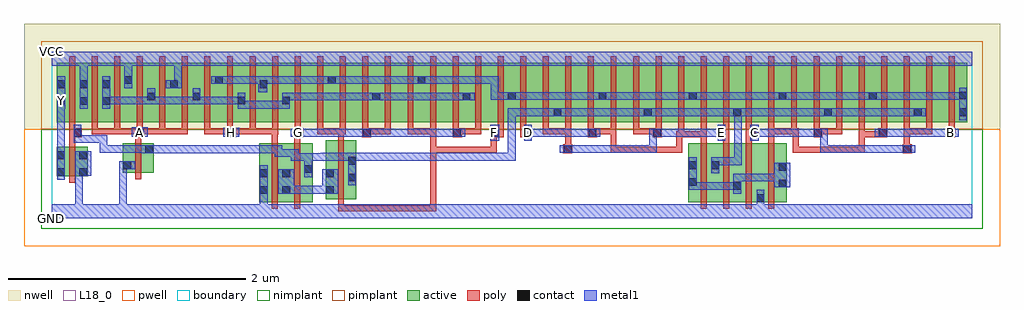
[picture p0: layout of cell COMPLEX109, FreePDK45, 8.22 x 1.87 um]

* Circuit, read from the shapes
.subckt COMPLEX109 A B C D E F G GND H VCC Y
M1 GND n1 Y VSUBS nfet w=0.25u l=0.05u
M2 n1 A GND VSUBS nfet w=0.25u l=0.05u
M3 n2 H GND VSUBS nfet w=0.5u l=0.05u
M4 n1 G n2 VSUBS nfet w=0.5u l=0.05u
M5 n1 F n2 VSUBS nfet w=0.5u l=0.05u
M6 n1 D n3 VSUBS nfet w=0.5u l=0.05u
M7 n3 E n1 VSUBS nfet w=0.5u l=0.05u
M8 GND C n3 VSUBS nfet w=0.5u l=0.05u
M9 n3 B GND VSUBS nfet w=0.5u l=0.05u
M10 VCC n1 Y n4 pfet w=0.5u l=0.05u
M11 n5 A VCC n4 pfet w=0.5u l=0.05u m=5
M12 n6 H n5 n4 pfet w=0.5u l=0.05u m=4
M13 n7 G n5 n4 pfet w=0.5u l=0.05u
M14 n6 F n7 n4 pfet w=0.5u l=0.05u
M15 n8 F n6 n4 pfet w=0.5u l=0.05u
M16 n5 G n8 n4 pfet w=0.5u l=0.05u
M17 n9 G n5 n4 pfet w=0.5u l=0.05u
M18 n6 F n9 n4 pfet w=0.5u l=0.05u
M19 n10 F n6 n4 pfet w=0.5u l=0.05u
M20 n5 G n10 n4 pfet w=0.5u l=0.05u
M21 n11 G n5 n4 pfet w=0.5u l=0.05u
M22 n6 F n11 n4 pfet w=0.5u l=0.05u
M23 n12 D n6 n4 pfet w=0.5u l=0.05u
M24 n1 E n12 n4 pfet w=0.5u l=0.05u
M25 n13 E n1 n4 pfet w=0.5u l=0.05u
M26 n6 D n13 n4 pfet w=0.5u l=0.05u
M27 n14 D n6 n4 pfet w=0.5u l=0.05u
M28 n1 E n14 n4 pfet w=0.5u l=0.05u
M29 n15 E n1 n4 pfet w=0.5u l=0.05u
M30 n6 D n15 n4 pfet w=0.5u l=0.05u
M31 n16 D n6 n4 pfet w=0.5u l=0.05u
M32 n1 E n16 n4 pfet w=0.5u l=0.05u
M33 n17 C n1 n4 pfet w=0.5u l=0.05u
M34 n6 B n17 n4 pfet w=0.5u l=0.05u
M35 n18 B n6 n4 pfet w=0.5u l=0.05u
M36 n1 C n18 n4 pfet w=0.5u l=0.05u
M37 n19 C n1 n4 pfet w=0.5u l=0.05u
M38 n6 B n19 n4 pfet w=0.5u l=0.05u
M39 n20 B n6 n4 pfet w=0.5u l=0.05u
M40 n1 C n20 n4 pfet w=0.5u l=0.05u
M41 n21 C n1 n4 pfet w=0.5u l=0.05u
M42 n6 B n21 n4 pfet w=0.5u l=0.05u
.ends

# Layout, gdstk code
import gdstk
lib = gdstk.Library(unit=1e-6, precision=1e-09)
def R(c, l, rs):  # rectangles x0, y0, x1, y1
    for r in rs: c.add(gdstk.rectangle(r[:2], r[2:], *l))
def A(c, l, x, y, w, h, nx, ny, dx, dy):  # array of equal rectangles
    R(c, l, [(x+i*dx, y+j*dy, x+i*dx+w, y+j*dy+h) for i in range(nx) for j in range(ny)])
active = (1, 0)
pwell = (2, 0)
nwell = (3, 0)
nimplant = (4, 0)
pimplant = (5, 0)
poly = (9, 0)
contact = (10, 0)
metal1 = (11, 0)
L18_0 = (18, 0)
boundary = (235, 0)

complex109 = lib.new_cell('COMPLEX109')
A(complex109, active, 0.04, 0.807, 0.075, 0.393, 4, 1, 0.38, 0)
A(complex109, active, 0.8, 0.807, 0.265, 0.5, 4, 1, 0.19, 0)
A(complex109, active, 1.935, 0.807, 0.075, 0.263, 3, 1, 0.76, 0)
A(complex109, active, 2.545, 0.807, 0.225, 0.5, 4, 1, 0.38, 0)
A(complex109, active, 2.695, 0.807, 0.23, 0.5, 4, 1, 0.38, 0)
A(complex109, active, 4.065, 0.807, 0.23, 0.5, 4, 1, 0.38, 0)
A(complex109, active, 4.22, 0.807, 0.225, 0.5, 4, 1, 0.38, 0)
A(complex109, active, 6.115, 0.807, 0.075, 0.393, 3, 1, 0.76, 0)
A(complex109, active, 6.725, 0.807, 0.225, 0.5, 3, 1, 0.38, 0)
R(complex109, active, [(1.747,0.132,2.012,0.632), (1.747,0.132,1.822,0.632), (1.937,0.132,2.197,0.632), (5.36,0.132,5.625,0.632), (5.55,0.132,5.81,0.632), (5.735,0.132,6.005,0.632), (5.93,0.132,6.19,0.632), (5.93,0.132,6.005,0.592), (2.305,0.157,2.565,0.657), (1.937,0.195,2.012,0.592), (2.122,0.195,2.197,0.632), (2.305,0.195,2.38,0.657), (2.49,0.195,2.565,0.657), (5.36,0.195,5.435,0.632), (5.55,0.195,5.625,0.592), (5.735,0.195,5.81,0.592), (6.115,0.195,6.19,0.632), (0.04,0.352,0.115,0.602), (0.04,0.352,0.3,0.602), (0.225,0.352,0.3,0.602), (0.597,0.382,0.672,0.632), (0.597,0.382,0.857,0.632), (0.782,0.382,0.857,0.632), (0.04,0.807,0.305,1.307), (0.23,0.807,0.495,1.307), (0.23,0.807,0.305,1.307), (0.42,0.807,0.68,1.307), (0.605,0.807,0.875,1.307), (0.605,0.807,0.68,1.307), (0.99,0.807,1.065,1.307), (1.37,0.807,1.445,1.2), (1.56,0.807,1.82,1.307), (1.56,0.807,1.635,1.07), (1.745,0.807,2.01,1.307), (1.745,0.807,1.82,1.2), (1.935,0.807,2.165,1.307), (2.165,0.807,2.395,1.307), (2.32,0.807,2.395,1.2), (2.32,0.807,2.545,1.307), (3.075,0.807,3.15,1.2), (3.835,0.807,3.91,1.2), (4.22,0.807,4.295,1.07), (4.6,0.807,4.675,1.2), (4.98,0.807,5.055,1.07), (5.36,0.807,5.435,1.2), (5.585,0.807,5.81,1.307), (5.735,0.807,5.965,1.307), (5.735,0.807,5.81,1.07), (5.965,0.807,6.19,1.307), (6.115,0.807,6.345,1.307), (6.345,0.807,6.575,1.307), (6.5,0.807,6.725,1.307), (6.5,0.807,6.575,1.07), (6.875,0.807,7.105,1.307), (7.255,0.807,7.485,1.307), (7.255,0.807,7.33,1.07)])
R(complex109, pwell, [(-0.235,-0.235,7.985,0.75)])
R(complex109, nwell, [(-0.235,0.75,7.985,1.635)])
R(complex109, nimplant, [(-0.09,-0.09,7.84,0.75)])
R(complex109, pimplant, [(-0.09,0.75,7.84,1.49)])
A(complex109, poly, 5.465, 0.077, 0.05, 0.61, 4, 1, 0.19, 0)
A(complex109, poly, 5.465, 0.637, 0.05, 0.095, 3, 1, 0.19, 0)
A(complex109, poly, 0.145, 0.707, 0.05, 0.095, 27, 1, 0.19, 0)
A(complex109, poly, 2.805, 0.707, 0.05, 0.05, 3, 1, 0.19, 0)
A(complex109, poly, 5.655, 0.707, 0.05, 0.095, 6, 1, 0.19, 0)
A(complex109, poly, 6.985, 0.707, 0.05, 0.095, 4, 1, 0.19, 0)
A(complex109, poly, 0.145, 0.752, 0.05, 0.61, 40, 1, 0.19, 0)
R(complex109, poly, [(2.41,0.057,2.46,0.152), (2.41,0.057,2.46,0.107), (2.41,0.057,2.722,0.107), (2.672,0.057,2.722,0.107), (2.672,0.057,2.722,0.107), (2.672,0.057,2.722,0.107), (2.672,0.057,2.722,0.107), (2.672,0.057,2.722,0.107), (2.672,0.057,2.855,0.107), (2.805,0.057,2.855,0.107), (2.805,0.057,2.855,0.107), (2.805,0.057,2.855,0.107), (2.805,0.057,2.987,0.107), (2.937,0.057,2.987,0.107), (2.937,0.057,2.987,0.107), (2.937,0.057,2.987,0.107), (2.937,0.057,3.235,0.107), (3.185,0.057,3.235,0.107), (3.185,0.057,3.235,0.107), (3.185,0.057,3.235,0.107), (3.185,0.057,3.235,0.6), (1.852,0.077,1.902,0.687), (2.042,0.077,2.092,0.687), (2.41,0.102,2.46,0.712), (0.145,0.297,0.195,0.657), (0.702,0.327,0.752,0.687), (4.307,0.545,4.382,0.62), (7.167,0.545,7.242,0.62), (3.185,0.55,3.235,0.6), (3.185,0.55,3.235,0.6), (3.185,0.55,3.235,0.6), (3.185,0.55,3.235,0.757), (3.185,0.55,3.472,0.6), (3.422,0.55,3.472,0.6), (3.422,0.55,3.482,0.6), (3.432,0.55,3.482,0.6), (3.432,0.55,3.605,0.6), (3.555,0.55,3.605,0.6), (3.555,0.55,3.615,0.6), (3.565,0.55,3.615,0.6), (3.565,0.55,3.747,0.6), (3.697,0.55,3.747,0.6), (3.697,0.55,3.747,0.6), (3.697,0.55,3.747,0.6), (3.697,0.55,3.747,0.732), (4.705,0.55,4.755,0.6), (4.705,0.55,4.755,0.757), (4.705,0.55,4.977,0.6), (4.927,0.55,4.977,0.6), (4.927,0.55,4.977,0.6), (4.927,0.55,4.977,0.6), (4.927,0.55,5.177,0.6), (5.127,0.55,5.177,0.6), (5.127,0.55,5.177,0.6), (5.127,0.55,5.177,0.6), (5.127,0.55,5.31,0.6), (5.26,0.55,5.31,0.6), (5.26,0.55,5.31,0.6), (5.26,0.55,5.31,0.6), (5.26,0.55,5.31,0.732), (6.24,0.55,6.29,0.6), (6.24,0.55,6.522,0.6), (6.24,0.55,6.29,0.757), (6.472,0.55,6.522,0.6), (6.472,0.55,6.522,0.6), (6.472,0.55,6.522,0.6), (6.472,0.55,6.712,0.6), (6.662,0.55,6.712,0.6), (6.662,0.55,6.712,0.6), (6.662,0.55,6.712,0.6), (6.662,0.55,6.845,0.6), (6.795,0.55,6.845,0.6), (6.795,0.55,6.845,0.6), (6.795,0.55,6.845,0.6), (6.795,0.55,6.845,0.6), (6.795,0.55,6.845,0.6), (6.795,0.55,6.845,0.732), (4.325,0.57,4.375,0.62), (4.325,0.57,4.375,0.62), (4.325,0.57,4.375,0.757), (7.175,0.57,7.225,0.757), (0.145,0.607,0.195,0.732), (0.702,0.637,0.752,0.732), (1.852,0.637,1.902,0.757), (2.042,0.637,2.092,0.732), (6.035,0.637,6.085,0.757), (2.41,0.662,2.46,0.757), (0.145,0.682,0.252,0.757), (0.702,0.682,0.777,0.757), (1.472,0.682,1.547,0.757), (2.042,0.682,2.117,0.757), (2.615,0.682,2.69,0.757), (3.375,0.682,3.45,0.757), (3.697,0.682,3.747,0.732), (3.697,0.682,3.747,0.732), (3.697,0.682,3.805,0.757), (3.945,0.682,4.047,0.757), (4.515,0.682,4.59,0.757), (5.06,0.682,5.135,0.757), (5.26,0.682,5.31,0.732), (5.26,0.682,5.31,0.732), (5.26,0.682,5.325,0.732), (5.275,0.682,5.515,0.732), (5.275,0.682,5.325,0.802), (5.465,0.682,5.515,0.732), (5.465,0.682,5.515,0.732), (5.465,0.682,5.515,0.732), (5.465,0.682,5.515,0.802), (5.602,0.682,5.705,0.757), (5.845,0.682,5.952,0.757), (6.415,0.682,6.49,0.757), (6.795,0.682,6.845,0.732), (6.795,0.682,7.01,0.732), (6.795,0.682,6.845,0.802), (6.96,0.682,7.035,0.757), (6.96,0.682,7.01,0.732), (6.96,0.682,7.01,0.732), (7.532,0.682,7.607,0.757), (0.335,0.707,0.385,0.757), (0.335,0.707,0.575,0.757), (0.525,0.707,0.575,0.757), (0.525,0.707,0.575,0.757), (0.525,0.707,0.575,0.757), (0.525,0.707,0.752,0.757), (0.702,0.707,0.752,0.757), (0.702,0.707,0.752,0.757), (0.727,0.707,0.955,0.757), (0.905,0.707,0.955,0.757), (0.905,0.707,0.955,0.757), (0.905,0.707,0.955,0.757), (0.905,0.707,1.145,0.757), (1.095,0.707,1.145,0.757), (1.095,0.707,1.145,0.757), (1.095,0.707,1.145,0.757), (1.285,0.707,1.335,0.757), (1.285,0.707,1.522,0.757), (1.472,0.707,1.522,0.757), (1.472,0.707,1.522,0.757), (1.497,0.707,1.715,0.757), (1.665,0.707,1.715,0.757), (1.665,0.707,1.715,0.757), (1.665,0.707,1.715,0.757), (1.665,0.707,1.902,0.757), (1.852,0.707,1.902,0.757), (1.852,0.707,1.902,0.757), (1.852,0.707,1.905,0.757), (2.235,0.707,2.285,0.757), (2.235,0.707,2.285,0.757), (2.235,0.707,2.285,0.757), (2.235,0.707,2.46,0.757), (2.41,0.707,2.475,0.757), (2.64,0.707,2.855,0.757), (2.805,0.707,2.855,0.757), (2.805,0.707,2.855,0.757), (2.995,0.707,3.235,0.757), (3.185,0.707,3.235,0.757), (3.185,0.707,3.235,0.757), (3.185,0.707,3.235,0.757), (3.185,0.707,3.235,0.757), (3.4,0.707,3.615,0.757), (3.565,0.707,3.615,0.757), (3.565,0.707,3.615,0.757), (3.565,0.707,3.615,0.757), (4.135,0.707,4.185,0.757), (4.135,0.707,4.375,0.757), (4.325,0.707,4.375,0.757), (4.325,0.707,4.375,0.757), (4.325,0.707,4.375,0.757), (4.54,0.707,4.755,0.757), (4.705,0.707,4.755,0.757), (4.705,0.707,4.755,0.757), (4.705,0.707,4.755,0.757), (4.705,0.707,4.755,0.757), (4.705,0.707,4.755,0.757), (4.895,0.707,4.945,0.757), (4.895,0.707,5.11,0.757), (5.06,0.707,5.11,0.757), (5.06,0.707,5.11,0.757), (6.035,0.707,6.085,0.757), (6.035,0.707,6.275,0.757), (6.225,0.707,6.275,0.757), (6.225,0.707,6.275,0.757), (6.225,0.707,6.275,0.757), (6.225,0.707,6.275,0.757), (6.225,0.707,6.29,0.757), (6.44,0.707,6.655,0.757), (6.605,0.707,6.655,0.757), (6.605,0.707,6.655,0.757), (6.605,0.707,6.655,0.757), (7.175,0.707,7.225,0.757), (7.175,0.707,7.225,0.757), (7.175,0.707,7.225,0.757), (7.175,0.707,7.415,0.757), (7.365,0.707,7.415,0.757), (7.365,0.707,7.415,0.757), (7.365,0.707,7.415,0.757)])
A(complex109, contact, 0.045, 0.955, 0.065, 0.065, 3, 2, 0.19, 0.14)
R(complex109, contact, [(5.935,0.137,6,0.202), (1.752,0.205,1.817,0.27), (1.942,0.205,2.007,0.27), (2.31,0.205,2.375,0.27), (5.74,0.24,5.805,0.305), (6.12,0.26,6.185,0.325), (5.365,0.272,5.43,0.337), (2.495,0.31,2.56,0.375), (1.752,0.345,1.817,0.41), (1.942,0.345,2.007,0.41), (2.31,0.345,2.375,0.41), (0.045,0.357,0.11,0.422), (0.23,0.357,0.295,0.422), (2.127,0.38,2.192,0.445), (6.12,0.4,6.185,0.465), (0.602,0.412,0.667,0.477), (5.365,0.412,5.43,0.477), (5.555,0.412,5.62,0.477), (2.495,0.45,2.56,0.515), (0.045,0.497,0.11,0.562), (0.23,0.497,0.295,0.562), (0.787,0.547,0.852,0.612), (4.312,0.55,4.377,0.615), (7.172,0.55,7.237,0.615), (0.182,0.687,0.247,0.752), (0.707,0.687,0.772,0.752), (1.477,0.687,1.542,0.752), (2.047,0.687,2.112,0.752), (2.62,0.687,2.685,0.752), (3.38,0.687,3.445,0.752), (3.702,0.687,3.767,0.752), (3.977,0.687,4.042,0.752), (4.52,0.687,4.585,0.752), (5.065,0.687,5.13,0.752), (5.607,0.687,5.672,0.752), (5.882,0.687,5.947,0.752), (6.42,0.687,6.485,0.752), (6.965,0.687,7.03,0.752), (7.537,0.687,7.602,0.752), (4.225,0.86,4.29,0.925), (4.985,0.86,5.05,0.925), (5.74,0.86,5.805,0.925), (6.505,0.86,6.57,0.925), (7.26,0.86,7.325,0.925), (7.64,0.86,7.705,0.925), (1.565,0.957,1.63,1.022), (1.94,0.957,2.005,1.022), (0.805,0.992,0.87,1.057), (1.185,0.992,1.25,1.057), (2.7,0.992,2.765,1.057), (3.46,0.992,3.525,1.057), (3.84,0.997,3.905,1.062), (4.605,0.997,4.67,1.062), (5.365,0.997,5.43,1.062), (6.12,0.997,6.185,1.062), (6.88,0.997,6.945,1.062), (7.64,1,7.705,1.065), (0.995,1.095,1.06,1.16), (1.75,1.095,1.815,1.16), (0.61,1.13,0.675,1.195), (1.375,1.13,1.44,1.195), (2.325,1.13,2.39,1.195), (3.08,1.13,3.145,1.195)])
A(complex109, metal1, 1.185, 0.957, 0.065, 0.065, 3, 1, 0.19, 0)
R(complex109, metal1, [(0,0,7.75,0.115), (0.195,0.05,0.26,0.115), (0.195,0.05,0.26,0.115), (0.195,0.05,0.26,0.115), (0.195,0.05,0.26,0.115), (0.195,0.05,0.26,0.115), (0.195,0.05,0.26,0.115), (0.195,0.05,0.26,0.422), (0.567,0.05,0.632,0.477), (1.752,0.05,1.817,0.115), (1.752,0.05,1.817,0.115), (1.752,0.05,1.817,0.235), (5.935,0.05,6,0.115), (5.935,0.05,6,0.115), (5.935,0.05,6,0.167), (5.935,0.102,6,0.237), (1.752,0.17,1.817,0.445), (1.907,0.205,2.042,0.41), (2.275,0.205,2.41,0.41), (5.74,0.205,5.805,0.375), (1.977,0.207,2.077,0.272), (2.012,0.207,2.077,0.272), (2.012,0.207,2.18,0.272), (2.115,0.207,2.18,0.272), (2.115,0.207,2.34,0.272), (2.275,0.207,2.342,0.272), (2.277,0.207,2.342,0.272), (5.365,0.237,5.43,0.512), (5.365,0.237,5.495,0.302), (5.43,0.237,5.495,0.302), (5.43,0.237,5.632,0.302), (5.567,0.237,5.632,0.302), (5.567,0.237,5.632,0.302), (5.567,0.237,5.632,0.302), (5.567,0.237,5.805,0.302), (6.085,0.26,6.22,0.465), (2.495,0.275,2.56,0.55), (5.74,0.31,6.012,0.375), (5.947,0.31,6.012,0.375), (5.947,0.31,6.012,0.375), (5.947,0.31,6.012,0.375), (5.947,0.31,6.15,0.375), (6.085,0.31,6.15,0.375), (6.085,0.31,6.15,0.375), (0.045,0.322,0.11,0.597), (2.127,0.345,2.192,0.547), (0.195,0.357,0.33,0.562), (5.555,0.377,5.62,0.512), (0.567,0.412,0.632,0.477), (0.567,0.412,0.632,0.477), (0.567,0.412,0.632,0.477), (0.567,0.412,0.632,0.477), (0.567,0.412,0.632,0.477), (0.567,0.412,0.632,0.477), (0.567,0.412,0.702,0.477), (5.555,0.447,5.81,0.512), (5.745,0.447,5.81,0.512), (5.745,0.447,5.81,0.512), (5.745,0.447,5.81,0.512), (5.745,0.447,5.81,0.925), (2.012,0.482,2.192,0.547), (2.012,0.482,2.077,0.582), (2.127,0.482,2.33,0.547), (2.265,0.482,2.33,0.55), (2.265,0.485,2.33,0.55), (2.265,0.485,2.33,0.55), (2.265,0.485,2.512,0.55), (2.447,0.485,2.512,0.55), (2.447,0.485,2.56,0.55), (2.495,0.485,2.8,0.55), (2.735,0.485,2.8,0.55), (2.735,0.485,2.8,0.55), (2.735,0.485,2.8,0.55), (2.735,0.485,2.937,0.55), (2.872,0.485,2.937,0.55), (2.872,0.485,2.937,0.55), (2.872,0.485,2.937,0.55), (2.872,0.485,3.11,0.55), (3.045,0.485,3.11,0.55), (3.045,0.485,3.11,0.55), (3.045,0.485,3.11,0.55), (3.045,0.485,3.247,0.55), (3.182,0.485,3.247,0.55), (3.182,0.485,3.352,0.55), (3.287,0.485,3.352,0.55), (3.287,0.485,3.385,0.55), (3.32,0.485,3.385,0.55), (3.32,0.485,3.515,0.55), (3.45,0.485,3.515,0.55), (3.45,0.485,3.617,0.55), (3.552,0.485,3.617,0.55), (3.552,0.485,3.732,0.55), (3.667,0.485,3.732,0.55), (3.667,0.485,3.905,0.55), (3.84,0.485,3.905,0.55), (3.84,0.485,3.905,0.55), (3.84,0.485,3.905,0.55), (3.84,0.485,3.905,0.55), (3.84,0.485,3.905,0.55), (3.84,0.485,3.905,0.925), (1.875,0.517,1.987,0.582), (1.875,0.517,1.94,0.612), (1.922,0.517,1.987,0.582), (1.922,0.517,2.077,0.582), (0.045,0.532,0.11,0.597), (0.045,0.532,0.11,0.597), (0.045,0.532,0.11,0.985), (0.752,0.547,0.887,0.615), (0.822,0.547,0.945,0.612), (0.88,0.547,0.945,0.612), (0.88,0.547,1.112,0.612), (1.047,0.547,1.112,0.612), (1.047,0.547,1.112,0.612), (1.047,0.547,1.112,0.612), (1.047,0.547,1.267,0.612), (1.202,0.547,1.267,0.612), (1.202,0.547,1.267,0.612), (1.202,0.547,1.267,0.612), (1.202,0.547,1.422,0.612), (1.357,0.547,1.422,0.612), (1.357,0.547,1.6,0.612), (1.535,0.547,1.612,0.612), (1.547,0.547,1.612,0.612), (1.547,0.547,1.612,0.612), (1.547,0.547,1.767,0.612), (1.702,0.547,1.767,0.612), (1.702,0.547,1.767,0.612), (1.702,0.547,1.767,0.612), (1.702,0.547,1.94,0.612), (0.402,0.55,0.6,0.615), (0.402,0.55,0.467,0.7), (0.535,0.55,0.6,0.615), (0.535,0.55,0.68,0.615), (0.615,0.55,0.68,0.615), (0.615,0.55,0.737,0.615), (0.672,0.55,0.737,0.615), (0.672,0.55,0.817,0.615), (4.277,0.55,4.412,0.615), (4.347,0.55,4.497,0.615), (4.432,0.55,4.497,0.615), (4.432,0.55,4.497,0.615), (4.432,0.55,4.497,0.615), (4.432,0.55,4.672,0.615), (4.607,0.55,4.672,0.615), (4.607,0.55,4.672,0.615), (4.607,0.55,4.672,0.615), (4.607,0.55,4.81,0.615), (4.745,0.55,4.81,0.615), (4.745,0.55,4.842,0.615), (4.777,0.55,4.842,0.615), (4.777,0.55,4.947,0.615), (4.882,0.55,4.947,0.615), (4.882,0.55,5.095,0.615), (5.03,0.55,5.095,0.615), (5.03,0.55,5.095,0.752), (6.47,0.55,6.535,0.615), (6.47,0.55,6.72,0.615), (6.47,0.55,6.535,0.752), (6.655,0.55,6.72,0.615), (6.655,0.55,6.742,0.615), (6.677,0.55,6.742,0.615), (6.677,0.55,6.742,0.615), (6.677,0.55,6.742,0.615), (6.677,0.55,6.857,0.615), (6.792,0.55,6.857,0.615), (6.792,0.55,6.88,0.615), (6.815,0.55,6.88,0.615), (6.815,0.55,7.065,0.615), (7,0.55,7.065,0.615), (7,0.55,7.152,0.615), (7.087,0.55,7.152,0.615), (7.087,0.55,7.202,0.615), (7.137,0.55,7.272,0.615), (0.185,0.635,0.25,0.7), (0.185,0.635,0.462,0.7), (0.185,0.635,0.25,0.717), (0.397,0.635,0.462,0.7), (0.397,0.635,0.467,0.7), (3.69,0.65,3.767,0.787), (0.182,0.652,0.247,0.787), (0.182,0.652,0.25,0.717), (0.185,0.652,0.25,0.717), (3.977,0.652,4.042,0.787), (5.607,0.652,5.672,0.787), (5.882,0.652,5.952,0.787), (1.442,0.685,1.577,0.762), (0.672,0.687,0.807,0.765), (2.012,0.687,2.147,0.752), (2.082,0.687,2.18,0.752), (2.115,0.687,2.18,0.752), (2.115,0.687,2.33,0.752), (2.265,0.687,2.33,0.752), (2.265,0.687,2.33,0.752), (2.265,0.687,2.33,0.752), (2.265,0.687,2.512,0.752), (2.447,0.687,2.512,0.752), (2.447,0.687,2.562,0.752), (2.497,0.687,2.562,0.752), (2.497,0.687,2.65,0.752), (2.585,0.687,2.72,0.752), (2.655,0.687,2.72,0.752), (2.655,0.687,2.72,0.752), (2.655,0.687,2.972,0.752), (2.907,0.687,2.972,0.752), (2.907,0.687,2.972,0.752), (2.907,0.687,2.972,0.752), (2.907,0.687,3.11,0.752), (3.045,0.687,3.11,0.752), (3.045,0.687,3.11,0.752), (3.045,0.687,3.11,0.752), (3.045,0.687,3.247,0.752), (3.182,0.687,3.247,0.752), (3.182,0.687,3.352,0.752), (3.287,0.687,3.352,0.752), (3.287,0.687,3.41,0.752), (3.345,0.687,3.48,0.752), (3.977,0.687,4.077,0.752), (4.012,0.687,4.077,0.752), (4.012,0.687,4.205,0.752), (4.14,0.687,4.205,0.752), (4.14,0.687,4.215,0.752), (4.15,0.687,4.215,0.752), (4.15,0.687,4.412,0.752), (4.347,0.687,4.412,0.752), (4.347,0.687,4.497,0.752), (4.432,0.687,4.497,0.752), (4.432,0.687,4.55,0.752), (4.485,0.687,4.62,0.752), (5.03,0.687,5.095,0.752), (5.03,0.687,5.095,0.752), (5.03,0.687,5.165,0.752), (5.1,0.687,5.257,0.752), (5.192,0.687,5.257,0.752), (5.192,0.687,5.302,0.752), (5.237,0.687,5.302,0.752), (5.237,0.687,5.482,0.752), (5.417,0.687,5.482,0.752), (5.417,0.687,5.495,0.752), (5.43,0.687,5.495,0.752), (5.43,0.687,5.632,0.752), (5.567,0.687,5.632,0.752), (5.567,0.687,5.672,0.752), (5.887,0.687,5.952,0.752), (5.887,0.687,5.952,0.752), (5.887,0.687,6.15,0.752), (6.085,0.687,6.15,0.752), (6.085,0.687,6.15,0.752), (6.085,0.687,6.15,0.752), (6.085,0.687,6.287,0.752), (6.222,0.687,6.287,0.752), (6.222,0.687,6.397,0.752), (6.332,0.687,6.397,0.752), (6.332,0.687,6.45,0.752), (6.385,0.687,6.52,0.752), (6.455,0.687,6.535,0.752), (6.47,0.687,6.535,0.752), (6.93,0.687,7.065,0.752), (7,0.687,7.152,0.752), (7.087,0.687,7.152,0.752), (7.087,0.687,7.29,0.752), (7.225,0.687,7.29,0.752), (7.225,0.687,7.29,0.752), (7.225,0.687,7.29,0.752), (7.225,0.687,7.427,0.752), (7.362,0.687,7.427,0.752), (7.362,0.687,7.427,0.752), (7.362,0.687,7.427,0.752), (7.362,0.687,7.567,0.752), (7.502,0.687,7.637,0.752), (7.64,0.825,7.705,1.1), (3.84,0.86,3.905,0.925), (3.84,0.86,4.042,0.925), (3.977,0.86,4.042,0.925), (3.977,0.86,4.077,0.925), (4.012,0.86,4.077,0.925), (4.012,0.86,4.205,0.925), (4.14,0.86,4.205,0.925), (4.14,0.86,4.255,0.925), (4.19,0.86,4.325,0.925), (4.26,0.86,4.325,0.925), (4.26,0.86,4.325,0.925), (4.26,0.86,4.342,0.925), (4.277,0.86,4.342,0.925), (4.277,0.86,4.462,0.925), (4.397,0.86,4.462,0.925), (4.397,0.86,4.672,0.925), (4.607,0.86,4.672,0.925), (4.607,0.86,4.672,0.925), (4.607,0.86,4.672,0.925), (4.607,0.86,4.81,0.925), (4.745,0.86,4.81,0.925), (4.745,0.86,4.842,0.925), (4.777,0.86,4.842,0.925), (4.777,0.86,4.947,0.925), (4.882,0.86,4.947,0.925), (4.882,0.86,5.015,0.925), (4.95,0.86,5.085,0.925), (5.02,0.86,5.085,0.925), (5.02,0.86,5.085,0.925), (5.02,0.86,5.257,0.925), (5.192,0.86,5.257,0.925), (5.192,0.86,5.302,0.925), (5.237,0.86,5.302,0.925), (5.237,0.86,5.482,0.925), (5.417,0.86,5.482,0.925), (5.417,0.86,5.482,0.925), (5.417,0.86,5.482,0.925), (5.417,0.86,5.632,0.925), (5.567,0.86,5.632,0.925), (5.567,0.86,5.77,0.925), (5.705,0.86,5.77,0.925), (5.705,0.86,5.77,0.925), (5.705,0.86,5.84,0.925), (5.745,0.86,5.81,0.925), (5.745,0.86,5.81,0.925), (5.745,0.86,5.81,0.925), (5.745,0.86,5.81,0.925), (5.745,0.86,5.977,0.925), (5.912,0.86,5.977,0.925), (5.912,0.86,5.977,0.925), (5.912,0.86,5.977,0.925), (5.912,0.86,6.15,0.925), (6.085,0.86,6.15,0.925), (6.085,0.86,6.15,0.925), (6.085,0.86,6.15,0.925), (6.085,0.86,6.287,0.925), (6.222,0.86,6.287,0.925), (6.222,0.86,6.397,0.925), (6.332,0.86,6.397,0.925), (6.332,0.86,6.535,0.925), (6.47,0.86,6.535,0.925), (6.47,0.86,6.535,0.925), (6.47,0.86,6.605,0.925), (6.54,0.86,6.72,0.925), (6.655,0.86,6.72,0.925), (6.655,0.86,6.742,0.925), (6.677,0.86,6.742,0.925), (6.677,0.86,6.857,0.925), (6.792,0.86,6.857,0.925), (6.792,0.86,6.88,0.925), (6.815,0.86,6.88,0.925), (6.815,0.86,7.065,0.925), (7,0.86,7.065,0.925), (7,0.86,7.152,0.925), (7.087,0.86,7.152,0.925), (7.087,0.86,7.29,0.925), (7.225,0.86,7.29,0.925), (7.225,0.86,7.29,0.925), (7.225,0.86,7.36,0.925), (0.045,0.92,0.11,0.985), (0.045,0.92,0.11,0.985), (0.045,0.92,0.11,0.985), (0.045,0.92,0.11,0.985), (0.045,0.92,0.112,1.195), (0.235,0.92,0.3,1.195), (0.425,0.92,0.49,1.195), (1.565,0.922,1.63,0.987), (1.565,0.922,1.63,0.987), (1.565,0.922,1.63,1.057), (1.565,0.922,1.802,0.987), (1.737,0.922,1.802,0.987), (1.737,0.922,1.802,0.987), (1.737,0.922,1.802,0.987), (1.737,0.922,1.94,0.987), (1.875,0.922,1.94,0.987), (1.875,0.922,2.005,0.987), (1.94,0.922,2.005,1.057), (0.425,0.957,0.6,1.022), (0.535,0.957,0.6,1.022), (0.535,0.957,0.68,1.022), (0.615,0.957,0.68,1.022), (0.615,0.957,0.737,1.022), (0.672,0.957,0.737,1.022), (0.672,0.957,0.87,1.022), (0.805,0.957,0.87,1.092), (0.805,0.957,0.875,1.022), (0.81,0.957,0.875,1.022), (0.81,0.957,1.082,1.022), (1.017,0.957,1.082,1.022), (1.017,0.957,1.082,1.022), (1.017,0.957,1.082,1.022), (1.017,0.957,1.25,1.022), (1.185,0.957,1.25,1.022), (1.185,0.957,1.25,1.092), (1.185,0.957,1.44,1.022), (1.375,0.957,1.63,1.022), (1.565,0.957,1.63,1.022), (1.94,0.992,2.077,1.057), (2.012,0.992,2.077,1.057), (2.012,0.992,2.18,1.057), (2.115,0.992,2.18,1.057), (2.115,0.992,2.33,1.057), (2.265,0.992,2.33,1.057), (2.265,0.992,2.33,1.057), (2.265,0.992,2.33,1.057), (2.265,0.992,2.512,1.057), (2.447,0.992,2.512,1.057), (2.447,0.992,2.562,1.057), (2.497,0.992,2.562,1.057), (2.497,0.992,2.73,1.057), (2.665,0.992,2.73,1.057), (2.665,0.992,2.73,1.057), (2.665,0.992,2.8,1.057), (2.735,0.992,2.972,1.057), (2.907,0.992,2.972,1.057), (2.907,0.992,2.972,1.057), (2.907,0.992,2.972,1.057), (2.907,0.992,3.11,1.057), (3.045,0.992,3.11,1.057), (3.045,0.992,3.11,1.057), (3.045,0.992,3.11,1.057), (3.045,0.992,3.247,1.057), (3.182,0.992,3.247,1.057), (3.182,0.992,3.352,1.057), (3.287,0.992,3.352,1.057), (3.287,0.992,3.385,1.057), (3.32,0.992,3.385,1.057), (3.32,0.992,3.49,1.057), (3.425,0.992,3.56,1.057), (3.697,0.997,3.87,1.062), (3.697,0.997,3.762,1.195), (3.805,0.997,3.94,1.062), (3.875,0.997,4.042,1.062), (3.977,0.997,4.042,1.062), (3.977,0.997,4.077,1.062), (4.012,0.997,4.077,1.062), (4.012,0.997,4.205,1.062), (4.14,0.997,4.205,1.062), (4.14,0.997,4.215,1.062), (4.15,0.997,4.215,1.062), (4.15,0.997,4.412,1.062), (4.347,0.997,4.412,1.062), (4.347,0.997,4.497,1.062), (4.432,0.997,4.497,1.062), (4.432,0.997,4.635,1.062), (4.57,0.997,4.635,1.062), (4.57,0.997,4.635,1.062), (4.57,0.997,4.705,1.062), (4.64,0.997,4.81,1.062), (4.745,0.997,4.81,1.062), (4.745,0.997,4.842,1.062), (4.777,0.997,4.842,1.062), (4.777,0.997,4.947,1.062), (4.882,0.997,4.947,1.062), (4.882,0.997,5.12,1.062), (5.055,0.997,5.12,1.062), (5.055,0.997,5.12,1.062), (5.055,0.997,5.12,1.062), (5.055,0.997,5.257,1.062), (5.192,0.997,5.257,1.062), (5.192,0.997,5.302,1.062), (5.237,0.997,5.302,1.062), (5.237,0.997,5.395,1.062), (5.33,0.997,5.465,1.062), (5.4,0.997,5.465,1.062), (5.4,0.997,5.465,1.062), (5.4,0.997,5.632,1.062), (5.567,0.997,5.632,1.062), (5.567,0.997,5.77,1.062), (5.705,0.997,5.77,1.062), (5.705,0.997,5.77,1.062), (5.705,0.997,5.77,1.062), (5.705,0.997,5.947,1.062), (5.882,0.997,5.947,1.062), (5.882,0.997,5.947,1.062), (5.882,0.997,5.947,1.062), (5.882,0.997,6.15,1.062), (6.085,0.997,6.15,1.062), (6.085,0.997,6.15,1.062), (6.085,0.997,6.22,1.062), (6.155,0.997,6.287,1.062), (6.222,0.997,6.287,1.062), (6.222,0.997,6.397,1.062), (6.332,0.997,6.397,1.062), (6.332,0.997,6.425,1.062), (6.36,0.997,6.425,1.062), (6.36,0.997,6.605,1.062), (6.54,0.997,6.605,1.062), (6.54,0.997,6.72,1.062), (6.655,0.997,6.72,1.062), (6.655,0.997,6.742,1.062), (6.677,0.997,6.742,1.062), (6.677,0.997,6.857,1.062), (6.792,0.997,6.857,1.062), (6.792,0.997,6.91,1.062), (6.845,0.997,6.98,1.062), (6.915,0.997,6.995,1.062), (6.93,0.997,6.995,1.062), (6.93,0.997,7.152,1.062), (7.087,0.997,7.152,1.062), (7.087,0.997,7.29,1.062), (7.225,0.997,7.29,1.062), (7.225,0.997,7.29,1.062), (7.225,0.997,7.29,1.062), (7.225,0.997,7.427,1.062), (7.362,0.997,7.427,1.062), (7.362,0.997,7.427,1.062), (7.362,0.997,7.427,1.062), (7.362,0.997,7.705,1.062), (7.64,0.997,7.705,1.062), (7.64,0.997,7.705,1.062), (1.737,1.06,1.815,1.195), (0.61,1.095,0.675,1.23), (0.96,1.095,1.095,1.16), (1.03,1.095,1.095,1.35), (0.235,1.13,0.3,1.35), (1.34,1.13,1.475,1.195), (1.41,1.13,1.6,1.195), (1.535,1.13,1.612,1.195), (1.547,1.13,1.612,1.195), (1.547,1.13,1.612,1.195), (1.547,1.13,1.802,1.195), (1.737,1.13,1.802,1.195), (1.737,1.13,1.802,1.195), (1.75,1.13,1.94,1.195), (1.875,1.13,1.94,1.195), (1.875,1.13,1.987,1.195), (1.922,1.13,1.987,1.195), (1.922,1.13,2.077,1.195), (2.012,1.13,2.077,1.195), (2.012,1.13,2.18,1.195), (2.115,1.13,2.18,1.195), (2.115,1.13,2.355,1.195), (2.29,1.13,2.355,1.195), (2.29,1.13,2.355,1.195), (2.29,1.13,2.425,1.195), (2.36,1.13,2.512,1.195), (2.447,1.13,2.512,1.195), (2.447,1.13,2.562,1.195), (2.497,1.13,2.562,1.195), (2.497,1.13,2.8,1.195), (2.735,1.13,2.8,1.195), (2.735,1.13,2.8,1.195), (2.735,1.13,2.8,1.195), (2.735,1.13,2.972,1.195), (2.907,1.13,2.972,1.195), (2.907,1.13,2.972,1.195), (2.907,1.13,2.972,1.195), (2.907,1.13,3.11,1.195), (3.045,1.13,3.11,1.195), (3.045,1.13,3.11,1.195), (3.045,1.13,3.18,1.195), (3.115,1.13,3.247,1.195), (3.182,1.13,3.247,1.195), (3.182,1.13,3.352,1.195), (3.287,1.13,3.352,1.195), (3.287,1.13,3.385,1.195), (3.32,1.13,3.385,1.195), (3.32,1.13,3.49,1.195), (3.425,1.13,3.49,1.195), (3.425,1.13,3.617,1.195), (3.552,1.13,3.617,1.195), (3.552,1.13,3.732,1.195), (3.667,1.13,3.732,1.195), (3.667,1.13,3.762,1.195), (0.61,1.165,0.675,1.35), (0,1.285,7.75,1.4)])
R(complex109, L18_0, [(0,0,7.75,0.115), (0.195,0.05,0.26,0.115), (0.195,0.05,0.26,0.115), (0.195,0.05,0.26,0.115), (0.195,0.05,0.26,0.115), (0.195,0.05,0.26,0.115), (0.195,0.05,0.26,0.115), (0.195,0.05,0.26,0.422), (0.567,0.05,0.632,0.477), (1.752,0.05,1.817,0.115), (1.752,0.05,1.817,0.115), (1.752,0.05,1.817,0.235), (5.935,0.05,6,0.115), (5.935,0.05,6,0.115), (5.935,0.05,6,0.167), (5.935,0.102,6,0.237), (1.752,0.17,1.817,0.445), (0.045,0.322,0.11,0.597), (0.195,0.357,0.33,0.562), (0.567,0.412,0.632,0.477), (0.567,0.412,0.632,0.477), (0.567,0.412,0.632,0.477), (0.567,0.412,0.632,0.477), (0.567,0.412,0.632,0.477), (0.567,0.412,0.632,0.477), (0.567,0.412,0.702,0.477), (0.045,0.532,0.11,0.597), (0.045,0.532,0.11,0.597), (0.045,0.532,0.11,0.985), (4.277,0.55,4.412,0.615), (4.347,0.55,4.497,0.615), (4.432,0.55,4.497,0.615), (4.432,0.55,4.497,0.615), (4.432,0.55,4.497,0.615), (4.432,0.55,4.672,0.615), (4.607,0.55,4.672,0.615), (4.607,0.55,4.672,0.615), (4.607,0.55,4.672,0.615), (4.607,0.55,4.81,0.615), (4.745,0.55,4.81,0.615), (4.745,0.55,4.842,0.615), (4.777,0.55,4.842,0.615), (4.777,0.55,4.947,0.615), (4.882,0.55,4.947,0.615), (4.882,0.55,5.095,0.615), (5.03,0.55,5.095,0.615), (5.03,0.55,5.095,0.752), (6.47,0.55,6.535,0.615), (6.47,0.55,6.535,0.752), (6.47,0.55,6.72,0.615), (6.655,0.55,6.72,0.615), (6.655,0.55,6.742,0.615), (6.677,0.55,6.742,0.615), (6.677,0.55,6.742,0.615), (6.677,0.55,6.742,0.615), (6.677,0.55,6.857,0.615), (6.792,0.55,6.857,0.615), (6.792,0.55,6.88,0.615), (6.815,0.55,6.88,0.615), (6.815,0.55,7.065,0.615), (7,0.55,7.065,0.615), (7,0.55,7.152,0.615), (7.087,0.55,7.152,0.615), (7.087,0.55,7.202,0.615), (7.137,0.55,7.272,0.615), (3.69,0.65,3.767,0.787), (3.977,0.652,4.042,0.787), (5.607,0.652,5.672,0.787), (5.882,0.652,5.952,0.787), (1.442,0.685,1.577,0.762), (0.672,0.687,0.807,0.765), (0.707,0.687,0.772,0.752), (1.477,0.687,1.542,0.752), (2.012,0.687,2.147,0.752), (2.047,0.687,2.112,0.752), (2.082,0.687,2.18,0.752), (2.115,0.687,2.18,0.752), (2.115,0.687,2.33,0.752), (2.265,0.687,2.33,0.752), (2.265,0.687,2.33,0.752), (2.265,0.687,2.33,0.752), (2.265,0.687,2.512,0.752), (2.447,0.687,2.512,0.752), (2.447,0.687,2.562,0.752), (2.497,0.687,2.562,0.752), (2.497,0.687,2.65,0.752), (2.585,0.687,2.72,0.752), (2.655,0.687,2.72,0.752), (2.655,0.687,2.72,0.752), (2.655,0.687,2.972,0.752), (2.907,0.687,2.972,0.752), (2.907,0.687,2.972,0.752), (2.907,0.687,2.972,0.752), (2.907,0.687,3.11,0.752), (3.045,0.687,3.11,0.752), (3.045,0.687,3.11,0.752), (3.045,0.687,3.11,0.752), (3.045,0.687,3.247,0.752), (3.182,0.687,3.247,0.752), (3.182,0.687,3.352,0.752), (3.287,0.687,3.352,0.752), (3.287,0.687,3.41,0.752), (3.345,0.687,3.48,0.752), (3.697,0.687,3.762,0.752), (3.977,0.687,4.042,0.752), (3.977,0.687,4.077,0.752), (4.012,0.687,4.077,0.752), (4.012,0.687,4.205,0.752), (4.14,0.687,4.205,0.752), (4.14,0.687,4.215,0.752), (4.15,0.687,4.215,0.752), (4.15,0.687,4.412,0.752), (4.347,0.687,4.412,0.752), (4.347,0.687,4.497,0.752), (4.432,0.687,4.497,0.752), (4.432,0.687,4.55,0.752), (4.485,0.687,4.62,0.752), (5.03,0.687,5.095,0.752), (5.03,0.687,5.095,0.752), (5.03,0.687,5.165,0.752), (5.1,0.687,5.257,0.752), (5.192,0.687,5.257,0.752), (5.192,0.687,5.302,0.752), (5.237,0.687,5.302,0.752), (5.237,0.687,5.482,0.752), (5.417,0.687,5.482,0.752), (5.417,0.687,5.495,0.752), (5.43,0.687,5.495,0.752), (5.43,0.687,5.632,0.752), (5.567,0.687,5.632,0.752), (5.567,0.687,5.672,0.752), (5.607,0.687,5.672,0.752), (5.887,0.687,5.952,0.752), (5.887,0.687,5.952,0.752), (5.887,0.687,5.952,0.752), (5.887,0.687,6.15,0.752), (6.085,0.687,6.15,0.752), (6.085,0.687,6.15,0.752), (6.085,0.687,6.15,0.752), (6.085,0.687,6.287,0.752), (6.222,0.687,6.287,0.752), (6.222,0.687,6.397,0.752), (6.332,0.687,6.397,0.752), (6.332,0.687,6.45,0.752), (6.385,0.687,6.52,0.752), (6.455,0.687,6.535,0.752), (6.47,0.687,6.535,0.752), (6.93,0.687,7.065,0.752), (7,0.687,7.152,0.752), (7.087,0.687,7.152,0.752), (7.087,0.687,7.29,0.752), (7.225,0.687,7.29,0.752), (7.225,0.687,7.29,0.752), (7.225,0.687,7.29,0.752), (7.225,0.687,7.427,0.752), (7.362,0.687,7.427,0.752), (7.362,0.687,7.427,0.752), (7.362,0.687,7.427,0.752), (7.362,0.687,7.567,0.752), (7.502,0.687,7.637,0.752), (7.537,0.687,7.602,0.752), (0.045,0.92,0.11,0.985), (0.045,0.92,0.11,0.985), (0.045,0.92,0.11,0.985), (0.045,0.92,0.11,0.985), (0.045,0.92,0.112,1.195), (0.235,0.92,0.3,1.195), (0.047,0.957,0.112,1.022), (0.61,1.095,0.675,1.23), (0.96,1.095,1.095,1.16), (1.03,1.095,1.095,1.35), (0.235,1.13,0.3,1.35), (0.61,1.165,0.675,1.35), (0,1.285,7.75,1.4)])
R(complex109, boundary, [(0,0,7.75,1.4)])
complex109.add(gdstk.Label('A', (0.74,0.72), layer=11, texttype=0))
complex109.add(gdstk.Label('B', (7.57,0.72), layer=11, texttype=0))
complex109.add(gdstk.Label('C', (5.92,0.72), layer=11, texttype=0))
complex109.add(gdstk.Label('D', (4.01,0.72), layer=11, texttype=0))
complex109.add(gdstk.Label('E', (5.64,0.72), layer=11, texttype=0))
complex109.add(gdstk.Label('F', (3.73,0.72), layer=11, texttype=0))
complex109.add(gdstk.Label('G', (2.08,0.72), layer=11, texttype=0))
complex109.add(gdstk.Label('H', (1.51,0.72), layer=11, texttype=0))
complex109.add(gdstk.Label('Y', (0.08,0.99), layer=11, texttype=0))
complex109.add(gdstk.Label('VCC', (0,1.4), layer=11, texttype=0))
complex109.add(gdstk.Label('GND', (0,0), layer=11, texttype=0))

lib.write_gds('COMPLEX109.gds')
